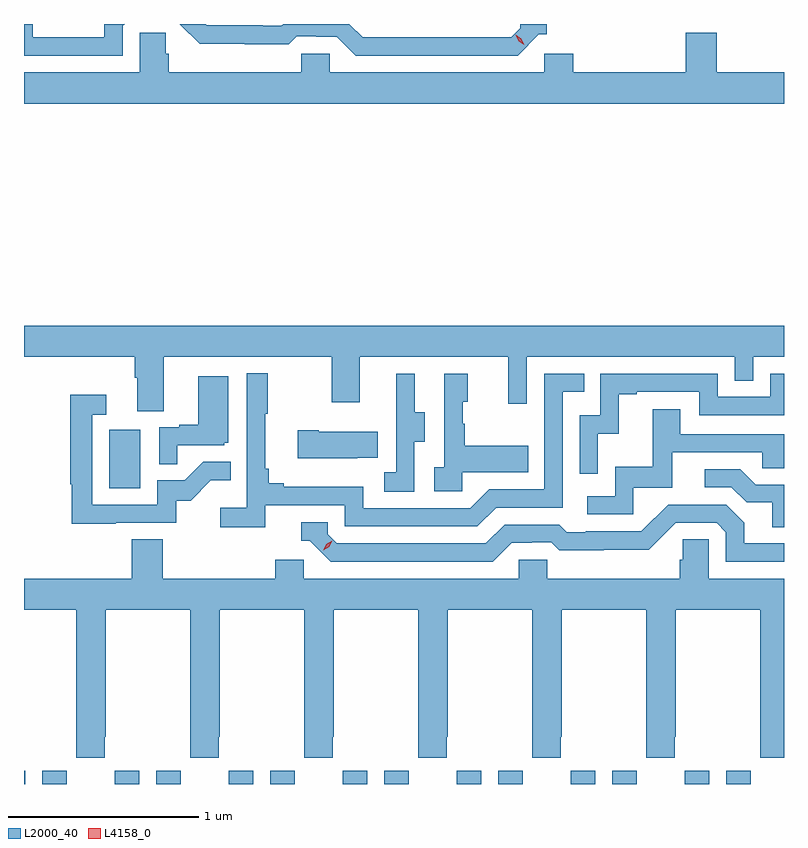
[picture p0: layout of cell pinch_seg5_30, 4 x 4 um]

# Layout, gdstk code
import gdstk
lib = gdstk.Library(unit=1e-6, precision=1e-09)
def R(c, l, rs):  # rectangles x0, y0, x1, y1
    for r in rs: c.add(gdstk.rectangle(r[:2], r[2:], *l))
def P(c, l, *ps):  # polygons
    for p in ps: c.add(gdstk.Polygon(p, *l))
L2000_40 = (2000, 40)
L4158_0 = (4158, 0)

pinch_seg5_30 = lib.new_cell('pinch_seg5_30')
R(pinch_seg5_30, L2000_40, [(1090.389,894.471,1090.396,894.541), (1090.484,894.471,1090.614,894.541), (1090.866,894.471,1090.996,894.541), (1091.084,894.471,1091.214,894.541), (1091.466,894.471,1091.596,894.541), (1091.684,894.471,1091.814,894.541), (1092.066,894.471,1092.196,894.541), (1092.284,894.471,1092.414,894.541), (1092.666,894.471,1092.796,894.541), (1092.884,894.471,1093.014,894.541), (1093.266,894.471,1093.396,894.541), (1093.484,894.471,1093.614,894.541), (1093.866,894.471,1093.996,894.541), (1094.084,894.471,1094.214,894.541), (1090.838,896.028,1091.002,896.335)])
P(pinch_seg5_30, L2000_40, [(1093.098,898.416),(1093.141,898.416),(1093.141,898.471),(1093.002,898.471),(1093.002,898.449),(1092.954,898.401),(1092.171,898.401),(1092.101,898.471),(1091.754,898.471),(1091.744,898.461),(1091.645,898.461),(1091.645,898.464),(1091.352,898.464),(1091.345,898.471),(1091.21,898.471),(1091.314,898.367),(1091.55,898.367),(1091.55,898.365),(1091.783,898.365),(1091.825,898.407),(1091.928,898.407),(1091.928,898.404),(1092.035,898.404),(1092.134,898.305),(1092.987,898.305)],
  [(1090.908,898.461),(1090.918,898.471),(1090.811,898.471),(1090.811,898.401),(1090.434,898.401),(1090.434,898.471),(1090.389,898.471),(1090.389,898.305),(1090.908,898.305)],
  [(1094.389,898.216),(1094.036,898.216),(1094.036,898.424),(1093.871,898.424),(1093.871,898.216),(1093.28,898.216),(1093.28,898.314),(1093.128,898.314),(1093.128,898.216),(1091.997,898.216),(1091.997,898.314),(1091.847,898.314),(1091.847,898.216),(1091.15,898.216),(1091.15,898.314),(1091.135,898.314),(1091.135,898.424),(1090.998,898.424),(1090.998,898.216),(1090.389,898.216),(1090.389,898.052),(1094.389,898.052)],
  [(1091.125,896.72),(1092.01,896.72),(1092.01,896.481),(1092.157,896.481),(1092.157,896.72),(1092.938,896.72),(1092.938,896.472),(1093.035,896.472),(1093.035,896.72),(1094.13,896.72),(1094.13,896.593),(1094.226,896.593),(1094.226,896.72),(1094.389,896.72),(1094.389,896.884),(1090.389,896.884),(1090.389,896.72),(1090.973,896.72),(1090.973,896.608),(1090.985,896.608),(1090.985,896.434),(1091.125,896.434)],
  [(1091.66,895.938),(1092.078,895.938),(1092.078,895.827),(1092.775,895.827),(1092.874,895.926),(1093.224,895.926),(1093.224,896.535),(1093.337,896.535),(1093.337,896.631),(1093.128,896.631),(1093.128,896.022),(1092.837,896.022),(1092.738,895.923),(1092.174,895.923),(1092.174,896.035),(1091.755,896.035),(1091.755,896.054),(1091.678,896.054),(1091.678,896.131),(1091.659,896.131),(1091.659,896.419),(1091.671,896.419),(1091.671,896.632),(1091.562,896.632),(1091.562,895.924),(1091.421,895.924),(1091.421,895.822),(1091.66,895.822)],
  [(1093.41,896.315),(1093.52,896.315),(1093.52,896.523),(1093.615,896.523),(1093.615,896.535),(1093.944,896.535),(1093.944,896.412),(1094.389,896.412),(1094.389,896.631),(1094.316,896.631),(1094.316,896.508),(1094.04,896.508),(1094.04,896.631),(1093.422,896.631),(1093.422,896.412),(1093.314,896.412),(1093.314,896.103),(1093.41,896.103)],
  [(1092.696,896.111),(1093.043,896.111),(1093.043,896.251),(1092.709,896.251),(1092.709,896.366),(1092.699,896.366),(1092.699,896.484),(1092.724,896.484),(1092.724,896.629),(1092.6,896.629),(1092.6,896.138),(1092.549,896.138),(1092.549,896.013),(1092.696,896.013)],
  [(1092.444,896.272),(1092.499,896.272),(1092.499,896.427),(1092.445,896.427),(1092.445,896.629),(1092.347,896.629),(1092.347,896.415),(1092.348,896.415),(1092.348,896.111),(1092.285,896.111),(1092.285,896.008),(1092.444,896.008)],
  [(1091.195,896.253),(1091.442,896.253),(1091.442,896.268),(1091.464,896.268),(1091.464,896.617),(1091.306,896.617),(1091.306,896.362),(1091.207,896.362),(1091.207,896.349),(1091.1,896.349),(1091.1,896.155),(1091.195,896.155)],
  [(1090.871,895.845),(1091.19,895.845),(1091.19,895.962),(1091.266,895.962),(1091.373,896.069),(1091.477,896.069),(1091.477,896.168),(1091.333,896.168),(1091.235,896.07),(1091.091,896.07),(1091.091,895.941),(1090.749,895.941),(1090.749,896.415),(1090.822,896.415),(1090.822,896.521),(1090.633,896.521),(1090.633,896.048),(1090.641,896.048),(1090.641,895.84),(1090.871,895.84)],
  [(1093.596,896.031),(1093.801,896.031),(1093.801,896.217),(1094.275,896.217),(1094.275,896.133),(1094.389,896.133),(1094.389,896.313),(1093.843,896.313),(1093.843,896.443),(1093.699,896.443),(1093.699,896.14),(1093.5,896.14),(1093.5,895.986),(1093.353,895.986),(1093.353,895.89),(1093.596,895.89)],
  [(1092.143,896.189),(1092.251,896.189),(1092.251,896.326),(1091.941,896.326),(1091.941,896.334),(1091.829,896.334),(1091.829,896.186),(1092.143,896.186)],
  [(1094.389,896.046),(1094.239,896.046),(1094.158,896.127),(1093.971,896.127),(1093.971,896.034),(1094.112,896.034),(1094.192,895.954),(1094.327,895.954),(1094.327,895.822),(1094.389,895.822)],
  [(1092.955,895.74),(1093.062,895.74),(1093.062,895.743),(1093.165,895.743),(1093.207,895.701),(1093.44,895.701),(1093.44,895.703),(1093.676,895.703),(1093.818,895.845),(1094.034,895.845),(1094.082,895.797),(1094.082,895.641),(1094.389,895.641),(1094.389,895.737),(1094.179,895.737),(1094.179,895.847),(1094.085,895.941),(1093.779,895.941),(1093.638,895.8),(1093.345,895.8),(1093.345,895.797),(1093.246,895.797),(1093.207,895.836),(1092.918,895.836),(1092.819,895.737),(1092.036,895.737),(1091.988,895.785),(1091.988,895.848),(1091.849,895.848),(1091.849,895.752),(1091.892,895.752),(1092.003,895.641),(1092.856,895.641)],
  [(1094.263,894.721),(1094.265,894.721),(1094.265,894.609),(1094.389,894.609),(1094.389,895.552),(1093.992,895.552),(1093.992,895.76),(1093.855,895.76),(1093.855,895.65),(1093.841,895.65),(1093.841,895.552),(1093.143,895.552),(1093.143,895.65),(1092.993,895.65),(1092.993,895.552),(1091.862,895.552),(1091.862,895.65),(1091.711,895.65),(1091.711,895.552),(1091.12,895.552),(1091.12,895.76),(1090.955,895.76),(1090.955,895.552),(1090.389,895.552),(1090.389,895.388),(1090.663,895.388),(1090.663,894.721),(1090.665,894.721),(1090.665,894.609),(1090.815,894.609),(1090.815,894.721),(1090.818,894.721),(1090.818,895.388),(1091.263,895.388),(1091.263,894.721),(1091.265,894.721),(1091.265,894.609),(1091.415,894.609),(1091.415,894.721),(1091.418,894.721),(1091.418,895.388),(1091.863,895.388),(1091.863,894.721),(1091.865,894.721),(1091.865,894.609),(1092.015,894.609),(1092.015,894.721),(1092.018,894.721),(1092.018,895.388),(1092.463,895.388),(1092.463,894.721),(1092.465,894.721),(1092.465,894.609),(1092.615,894.609),(1092.615,894.721),(1092.618,894.721),(1092.618,895.388),(1093.063,895.388),(1093.063,894.721),(1093.065,894.721),(1093.065,894.609),(1093.215,894.609),(1093.215,894.721),(1093.218,894.721),(1093.218,895.388),(1093.663,895.388),(1093.663,894.721),(1093.665,894.721),(1093.665,894.609),(1093.815,894.609),(1093.815,894.721),(1093.818,894.721),(1093.818,895.388),(1094.263,895.388)])
P(pinch_seg5_30, L4158_0, [(1091.964,895.7),(1091.964,895.7),(1091.98,895.732),(1092.011,895.751),(1092.011,895.751),(1092.011,895.751),(1091.995,895.719),(1091.964,895.7)],
  [(1093.022,898.361),(1092.992,898.381),(1092.976,898.413),(1092.976,898.414),(1092.977,898.414),(1093.007,898.394),(1093.023,898.361),(1093.023,898.361)])

lib.write_gds('pinch_seg5_30.gds')
